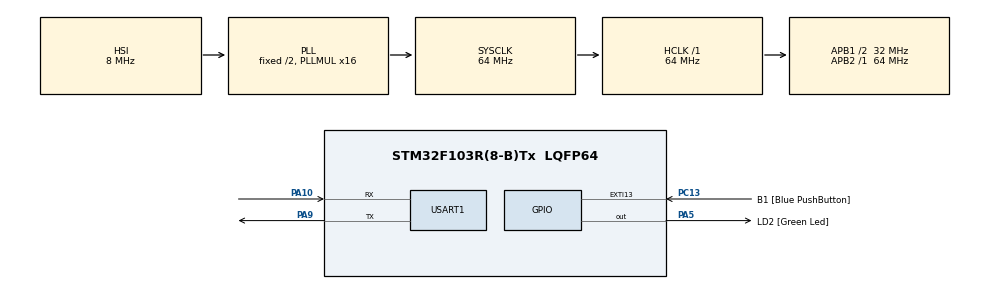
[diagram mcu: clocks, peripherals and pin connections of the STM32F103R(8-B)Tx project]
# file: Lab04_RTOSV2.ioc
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FREERTOS.Tasks01=defaultTask,-3,128,StartDefaultTask,Default,NULL,Dynamic,NULL,NULL
FREERTOS.configUSE_NEWLIB_REENTRANT=1
Mcu.Family=STM32F1
Mcu.Name=STM32F103R(8-B)Tx
Mcu.Package=LQFP64
NVIC.EXTI15_10_IRQn=true\:5\:0\:false\:false\:true\:true\:true\:true\:true
NVIC.PriorityGroup=NVIC_PRIORITYGROUP_4
NVIC.TIM4_IRQn=true\:15\:0\:false\:false\:true\:false\:false\:true\:true
NVIC.TimeBase=TIM4_IRQn
NVIC.TimeBaseIP=TIM4
PA10.Mode=Asynchronous
PA10.Signal=USART1_RX
PA13.GPIO_Label=TMS
PA13.Mode=Serial_Wire
PA13.Signal=SYS_JTMS-SWDIO
PA14.GPIO_Label=TCK
PA14.Mode=Serial_Wire
PA14.Signal=SYS_JTCK-SWCLK
PA5.GPIO_Label=LD2 [Green Led]
PA5.GPIO_ModeDefaultOutputPP=GPIO_MODE_OUTPUT_PP
PA5.GPIO_PuPd=GPIO_NOPULL
PA5.GPIO_Speed=GPIO_SPEED_FREQ_LOW
PA5.Signal=GPIO_Output
PA9.Mode=Asynchronous
PA9.Signal=USART1_TX
PB3.GPIO_Label=SWO
PB3.Signal=SYS_JTDO-TRACESWO
PC13-TAMPER-RTC.GPIO_Label=B1 [Blue PushButton]
PC13-TAMPER-RTC.GPIO_PuPd=GPIO_NOPULL
PC13-TAMPER-RTC.Signal=GPXTI13
PC14-OSC32_IN.Mode=LSE-External-Oscillator
PC14-OSC32_IN.Signal=RCC_OSC32_IN
PC15-OSC32_OUT.Mode=LSE-External-Oscillator
PC15-OSC32_OUT.Signal=RCC_OSC32_OUT
PD0-OSC_IN.Mode=HSE-External-Clock-Source
PD0-OSC_IN.Signal=RCC_OSC_IN
PD1-OSC_OUT.Mode=HSE-External-Clock-Source
PD1-OSC_OUT.Signal=RCC_OSC_OUT
ProjectManager.HeapSize=0x200
ProjectManager.StackSize=0x400
ProjectManager.TargetToolchain=STM32CubeIDE
RCC.AHBFreq_Value=64000000
RCC.APB1CLKDivider=RCC_HCLK_DIV2
RCC.APB1Freq_Value=32000000
RCC.APB1TimFreq_Value=64000000
RCC.APB2Freq_Value=64000000
RCC.APB2TimFreq_Value=64000000
RCC.HCLKFreq_Value=64000000
RCC.PLLMUL=RCC_PLL_MUL16
RCC.RTCClockSelection=RCC_RTCCLKSOURCE_LSE
RCC.SYSCLKFreq_VALUE=64000000
RCC.SYSCLKSource=RCC_SYSCLKSOURCE_PLLCLK
RCC.USBFreq_Value=64000000
USART1.VirtualMode=VM_ASYNC
VP_FREERTOS_VS_CMSIS_V1.Mode=CMSIS_V1
VP_SYS_VS_tim4.Mode=TIM4
board=NUCLEO-F103RB

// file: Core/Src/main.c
/* USER CODE BEGIN Header */
/**
  ******************************************************************************
  * @file           : main.c
  * @brief          : Main program body
  ******************************************************************************
  * @attention
  *
  * Copyright (c) 2024 STMicroelectronics.
  * All rights reserved.
  *
  * This software is licensed under terms that can be found in the LICENSE file
  * in the root directory of this software component.
  * If no LICENSE file comes with this software, it is provided AS-IS.
  *
  ******************************************************************************
  */
/* USER CODE END Header */
#include "main.h"
#include "cmsis_os.h"

/* USER CODE BEGIN Includes */
#include <stdio.h>
#include <stdarg.h>
/* USER CODE END Includes */

/* USER CODE BEGIN PD */
#define PERIOD_T1	4000
#define PERIOD_T2	6000
#define PERIOD_T3	12000
#define TICK_DIFF_T1	(osKernelSysTick() - (PERIOD_T1 * counter++))
#define TICK_DIFF_T2	(osKernelSysTick() - (PERIOD_T2 * counter++))
#define TICK_DIFF_T3	(osKernelSysTick() - (PERIOD_T3 * counter++))

/* USER CODE END PD */

UART_HandleTypeDef huart1;

osThreadId defaultTaskHandle;
/* USER CODE BEGIN PV */
osThreadId Task1Handle;
osThreadId Task2Handle;
osThreadId Task3Handle;
osThreadId Task4Handle;

osThreadId ReceiverHandle;
osThreadId Sender1Handle;
osThreadId Sender2Handle;
osMessageQId Queue1Handle;

osMutexId myMutex01Handle;
osMutexId myMutex02Handle;
osMutexId MutexXHandle;
osMutexId MutexYHandle;
osSemaphoreId BinarySem1Handle;
osSemaphoreId BinarySem2Handle;

/* USER CODE END PV */

void SystemClock_Config(void);
static void MX_GPIO_Init(void);
static void MX_USART1_UART_Init(void);
void StartDefaultTask(void const * argument);

/* USER CODE BEGIN PFP */
void StartTask1(void const* argument);
void StartTask2(void const* argument);
void StartTask3(void const* argument);
void StartTask4(void const* argument);

void StartReceiver(void const * argument);
void StartSender1(void const * argument);
void StartSender2(void const * argument);

/* USER CODE END PFP */

/* USER CODE BEGIN 0 */
int _write(int  file, char *ptr, int len){
	// Redirect stdout to UART
//	freopen(NULL, "w", stdout);

	int DataIdx;
	for(DataIdx = 0; DataIdx < len ; DataIdx++){
		while(!( USART1->SR & USART_SR_TXE ));
		USART1->DR = *ptr++;
	}
	return len;
}
/* USER CODE END 0 */

int main(void)
{

  /* MCU Configuration--------------------------------------------------------*/

  /* Reset of all peripherals, Initializes the Flash interface and the Systick. */
  HAL_Init();

  /* Configure the system clock */
  SystemClock_Config();

  /* Initialize all configured peripherals */
  MX_GPIO_Init();
  MX_USART1_UART_Init();

  /* USER CODE BEGIN RTOS_MUTEX */
  /* add mutexes, ... */
  osMutexDef(myMutex01);
  myMutex01Handle =  osMutexCreate(osMutex(myMutex01));

  osMutexDef(myMutex02);
  myMutex02Handle =  osMutexCreate(osMutex(myMutex02));

//  osMutexDef(MutexX);
//  MutexXHandle =  osMutexCreate(osMutex(MutexX));
//
//  osMutexDef(MutexY);
//  MutexYHandle =  osMutexCreate(osMutex(MutexY));
  /* USER CODE END RTOS_MUTEX */

  /* USER CODE BEGIN RTOS_SEMAPHORES */
  /* add semaphores, ... */
  osSemaphoreDef(BinarySem1);
  BinarySem1Handle = osSemaphoreCreate(osSemaphore(BinarySem1), 1);

  osSemaphoreDef(BinarySem2);
  BinarySem2Handle = osSemaphoreCreate(osSemaphore(BinarySem2), 1);
  /* USER CODE END RTOS_SEMAPHORES */

  /* USER CODE BEGIN RTOS_QUEUES */
  /* add queues, ... */
//  osMessageQDef(Queue1, 1, uint32_t);
//  Queue1Handle = osMessageCreate(osMessageQ(Queue1), NULL);
  /* USER CODE END RTOS_QUEUES */

  /* Create the thread(s) */
  /* definition and creation of defaultTask */
  osThreadDef(defaultTask, StartDefaultTask, osPriorityIdle, 0, 128);
  defaultTaskHandle = osThreadCreate(osThread(defaultTask), NULL);

  /* USER CODE BEGIN RTOS_THREADS */
  /* add threads, ... */

//  printf("Inicializando Scheduler\r\n");

  /* definition and creation of Task2 */
  osThreadDef(Task2, StartTask2, osPriorityNormal, 0, 128);
  Task2Handle = osThreadCreate(osThread(Task2), NULL);

//  /* definition and creation of Task2 */
//  osThreadDef(Task4, StartTask4, osPriorityHigh, 0, 128);
//  Task4Handle = osThreadCreate(osThread(Task4), NULL);
//
//  /* definition and creation of Task2 */
//  osThreadDef(Task3, StartTask3, osPriorityAboveNormal, 0, 128);
//  Task3Handle = osThreadCreate(osThread(Task3), NULL);

  /* definition and creation of Task1 */
  osThreadDef(Task1, StartTask1, osPriorityBelowNormal, 0, 128);
  Task1Handle = osThreadCreate(osThread(Task1), NULL);

  /* definition and creation of Sender1 */
//  osThreadDef(Sender1, StartSender1, osPriorityNormal, 0, 128);
//  Sender1Handle = osThreadCreate(osThread(Sender1), NULL);

  /* definition and creation of Sender2 */
//  osThreadDef(Sender2, StartSender2, osPriorityNormal, 0, 128);
//  Sender2Handle = osThreadCreate(osThread(Sender2), NULL);

  /* definition and creation of Receiver */
//  osThreadDef(Receiver, StartReceiver, osPriorityAboveNormal, 0, 128);
//  ReceiverHandle = osThreadCreate(osThread(Receiver), NULL);

  /* USER CODE END RTOS_THREADS */

  /* Start scheduler */
  osKernelStart();

  /* We should never get here as control is now taken by the scheduler */

  /* Infinite loop */
  while (1)
  {

  }
}

void SystemClock_Config(void)
{
  RCC_OscInitTypeDef RCC_OscInitStruct = {0};
  RCC_ClkInitTypeDef RCC_ClkInitStruct = {0};

  /** Initializes the RCC Oscillators according to the specified parameters
  * in the RCC_OscInitTypeDef structure.
  */
  RCC_OscInitStruct.OscillatorType = RCC_OSCILLATORTYPE_HSI;
  RCC_OscInitStruct.HSIState = RCC_HSI_ON;
  RCC_OscInitStruct.HSICalibrationValue = RCC_HSICALIBRATION_DEFAULT;
  RCC_OscInitStruct.PLL.PLLState = RCC_PLL_ON;
  RCC_OscInitStruct.PLL.PLLSource = RCC_PLLSOURCE_HSI_DIV2;
  RCC_OscInitStruct.PLL.PLLMUL = RCC_PLL_MUL16;
  if (HAL_RCC_OscConfig(&RCC_OscInitStruct) != HAL_OK)
  {
    Error_Handler();
  }

  /** Initializes the CPU, AHB and APB buses clocks
  */
  RCC_ClkInitStruct.ClockType = RCC_CLOCKTYPE_HCLK|RCC_CLOCKTYPE_SYSCLK
                              |RCC_CLOCKTYPE_PCLK1|RCC_CLOCKTYPE_PCLK2;
  RCC_ClkInitStruct.SYSCLKSource = RCC_SYSCLKSOURCE_PLLCLK;
  RCC_ClkInitStruct.AHBCLKDivider = RCC_SYSCLK_DIV1;
  RCC_ClkInitStruct.APB1CLKDivider = RCC_HCLK_DIV2;
  RCC_ClkInitStruct.APB2CLKDivider = RCC_HCLK_DIV1;

  if (HAL_RCC_ClockConfig(&RCC_ClkInitStruct, FLASH_LATENCY_2) != HAL_OK)
  {
    Error_Handler();
  }
}

static void MX_USART1_UART_Init(void)
{

  huart1.Instance = USART1;
  huart1.Init.BaudRate = 115200;
  huart1.Init.WordLength = UART_WORDLENGTH_8B;
  huart1.Init.StopBits = UART_STOPBITS_1;
  huart1.Init.Parity = UART_PARITY_NONE;
  huart1.Init.Mode = UART_MODE_TX_RX;
  huart1.Init.HwFlowCtl = UART_HWCONTROL_NONE;
  huart1.Init.OverSampling = UART_OVERSAMPLING_16;
  if (HAL_UART_Init(&huart1) != HAL_OK)
  {
    Error_Handler();
  }

}

static void MX_GPIO_Init(void)
{
  GPIO_InitTypeDef GPIO_InitStruct = {0};

  /* GPIO Ports Clock Enable */
  __HAL_RCC_GPIOC_CLK_ENABLE();
  __HAL_RCC_GPIOD_CLK_ENABLE();
  __HAL_RCC_GPIOA_CLK_ENABLE();
  __HAL_RCC_GPIOB_CLK_ENABLE();

  /*Configure GPIO pin Output Level */
  HAL_GPIO_WritePin(LD2_GPIO_Port, LD2_Pin, GPIO_PIN_RESET);

  /*Configure GPIO pin : B1_Pin */
  GPIO_InitStruct.Pin = B1_Pin;
  GPIO_InitStruct.Mode = GPIO_MODE_IT_RISING;
  GPIO_InitStruct.Pull = GPIO_NOPULL;
  HAL_GPIO_Init(B1_GPIO_Port, &GPIO_InitStruct);

  /*Configure GPIO pin : LD2_Pin */
  GPIO_InitStruct.Pin = LD2_Pin;
  GPIO_InitStruct.Mode = GPIO_MODE_OUTPUT_PP;
  GPIO_InitStruct.Pull = GPIO_NOPULL;
  GPIO_InitStruct.Speed = GPIO_SPEED_FREQ_LOW;
  HAL_GPIO_Init(LD2_GPIO_Port, &GPIO_InitStruct);

  /* EXTI interrupt init*/
  HAL_NVIC_SetPriority(EXTI15_10_IRQn, 5, 0);
  HAL_NVIC_EnableIRQ(EXTI15_10_IRQn);

}

/* USER CODE BEGIN 4 */

void StartReceiver(void const * argument){
	osEvent retValue;
	printf("Receiver\r\n");
	/* Infinite loop */
	for(;;) {
		retValue = osMessageGet(Queue1Handle, 0);
		if(retValue.status == osEventMessage)
			printf("Message received: %ld\r\n", retValue.value.v);
		else
			printf("Queue is empty\r\n");
	}

////	uint32_t counter = 0;
//	osEvent retValue;
//	for(;;) {
//		/* Get item from Queue with a 0 timeout */
//		retValue = osMessageGet(Queue1Handle, 1000);
//		if(retValue.status == osEventMessage){
//			if(((Data *)retValue.value.p)->source == 1){
//				printf("Receiver receive msg from Sender 1\r\n");
//			} else {
//				printf("Receiver receive msg from Sender 2\r\n");
//			}
//			printf("Msg: 0x%x\r\n",((Data *)retValue.value.p)->value);
//		} else
//			printf("Queue is empty\r\n");
////		osDelay(999 - (osKernelSysTick() - (999 * counter++)));
//	}

}

void StartSender1(void const * argument){
	osStatus status;
	uint32_t message = 7;

	/* Infinite loop */
	for(;;)
	{
		printf("Sending the message\r\n");
		status = osMessagePut(Queue1Handle, message, 0);
		if(status != osOK)
			printf("Queue is Full\r\n");
		osDelay(1000);
	}
//	uint32_t counter = 0;
//	osStatus status;
////	uint32_t message = 7;
//	Data DataToSend1 = {0x2023, 1};
//	for(;;) {
//		/* Put a message into Queue with a 0 timeout */
////		status = osMessagePut(Queue1Handle, message, 0);
//		status = osMessagePut(Queue1Handle, &DataToSend1, 0);
//		if(status != osOK)
//			printf("Full for S1\r\n");
//		osDelay(1000 - (osKernelSysTick() - (1000 * counter++)));
//	}
}

void StartSender2(void const * argument){
//	uint32_t counter = 0;
//	osStatus status;
////	uint32_t message = 4;
//	Data DataToSend2 = {0x2024, 2};
//	for(;;) {
//		/* Put a message into Queue with a 0 timeout */
////		status = osMessagePut(Queue1Handle, message, 0);
//		status = osMessagePut(Queue1Handle, &DataToSend2, 0);
//		if(status != osOK)
//			printf("Full for S2\r\n");
//		osDelay(1000 - (osKernelSysTick() - (1000 * counter++)));
//	}
}

void StartTask1(void const * argument)
{
	/* Infinite loop */
	for(;;)
	{
		printf("Task 1\r\n");
		printf("Taking X by Task 1\r\n");
		osMutexWait(MutexXHandle, osWaitForever);
		printf("Task 1 using X\r\n");
		osDelay(1000);
		printf("Taking Y by Task 1\r\n");
		osMutexWait(MutexYHandle, osWaitForever);
		printf("Task 1 using Y\r\n");
		osDelay(1000);
		printf("Releasing Y by Task 1\r\n");
		osMutexRelease(MutexYHandle);
		printf("Releasing X by Task 1\r\n");
		osMutexRelease(MutexXHandle);
		osDelay(1000);
	}

//	/* Infinite loop */
//	for(;;)
//	{
//		printf("Task 1\r\n");
//		HAL_Delay(1000);
//		printf("Taking Q by Task 1\r\n");
////		osSemaphoreWait(BinarySem1Handle, osWaitForever);
//		osMutexWait(myMutex01Handle, osWaitForever);
//		printf("Task 1 using\r\n");
//		HAL_Delay(1000);
//		printf("Task 1 using\r\n");
//		HAL_Delay(1000);
//		printf("Task 1 using\r\n");
//		HAL_Delay(1000);
//		printf("Task 1 using\r\n");
//		HAL_Delay(1000);
//		printf("Releasing Q by Task 1\r\n");
////		osSemaphoreRelease(BinarySem1Handle);
//		osMutexRelease(myMutex01Handle);
//		printf("Task 1\r\n");
//		HAL_Delay(1000);
//		printf("Task 1 finished in: %ld s\r\n", osKernelSysTick());
//		osThreadTerminate(Task1Handle);
//	}
}

void StartTask2(void const * argument){

	/* Infinite loop */
	for(;;)
	{
//		printf("Task 2\r\n");
		printf("Taking X by Task 2\r\n");
		osMutexWait(MutexXHandle, osWaitForever);
		printf("Task 2 using X\r\n");
		osDelay(1000);
		printf("Taking Y by Task 2\r\n");
		osMutexWait(MutexYHandle, osWaitForever);
		printf("Task 2 using Y\r\n");
		osDelay(1000);
		printf("Releasing Y by Task 2\r\n");
		osMutexRelease(MutexYHandle);
		printf("Releasing X by Task 2\r\n");
		osMutexRelease(MutexXHandle);
		osDelay(1000);
	}

//	/* Infinite loop */
//	osDelay(2000);
//	for(;;)
//	{
//		printf("Task 2\r\n");
//		HAL_Delay(1000);
//		printf("Task 2\r\n");
//		HAL_Delay(1000);
//		printf("Task 2 finished in: %ld s\r\n", osKernelSysTick());
//		osThreadTerminate(Task2Handle);
//	}

}

void StartTask3(void const * argument)
{
	osDelay(2000);
	/* Infinite loop */
	for(;;)
	{
		printf("Task 3\r\n");
		HAL_Delay(1000);
		printf("Taking V by Task 3\r\n");
//		osSemaphoreWait(BinarySem2Handle, osWaitForever);
		osMutexWait(myMutex02Handle, osWaitForever);
		printf("Task 3 using V\r\n");
		HAL_Delay(1000);
		printf("Task 3 using V\r\n");
		HAL_Delay(1000);
		printf("Releasing V by Task 3\r\n");
//		osSemaphoreRelease(BinarySem2Handle);
		osMutexRelease(myMutex02Handle);
		printf("Task 3\r\n");
		HAL_Delay(1000);
		printf("Task 3 finished in: %ld s\r\n", osKernelSysTick());
		osThreadTerminate(Task3Handle);
	}
}

void StartTask4(void const * argument)
{
	osDelay(4000);
	/* Infinite loop */
	for(;;)
	{
		printf("Task 4\r\n");
		HAL_Delay(1000);
		printf("Task 4\r\n");
		HAL_Delay(1000);
		printf("Taking Q by Task 4\r\n");
//		osSemaphoreWait(BinarySem1Handle, osWaitForever);
		osMutexWait(myMutex01Handle, osWaitForever);
		printf("Task 4 using Q\r\n");
		HAL_Delay(1000);
		printf("Releasing Q by Task 4\r\n");
//		osSemaphoreRelease(BinarySem1Handle);
		osMutexRelease(myMutex01Handle);
		printf("Taking V by Task 4\r\n");
//		osSemaphoreWait(BinarySem2Handle, osWaitForever);
		osMutexWait(myMutex02Handle, osWaitForever);
		printf("Task 4 using V\r\n");
		HAL_Delay(1000);
		printf("Releasing V by Task 4\r\n");
//		osSemaphoreRelease(BinarySem2Handle);
		osMutexRelease(myMutex02Handle);
		printf("Task 4\r\n");
		HAL_Delay(1000);
		printf("Task 4 finished in: %ld s\r\n", osKernelSysTick());
		osThreadTerminate(Task4Handle);
	}
}

/* USER CODE END 4 */

void StartDefaultTask(void const * argument)
{
  for(;;)
  {
  }
}

void HAL_TIM_PeriodElapsedCallback(TIM_HandleTypeDef *htim)
{
  if (htim->Instance == TIM4) {
    HAL_IncTick();
  }
}

void Error_Handler(void)
{
  __disable_irq();
  while (1)
  {
  }
}
